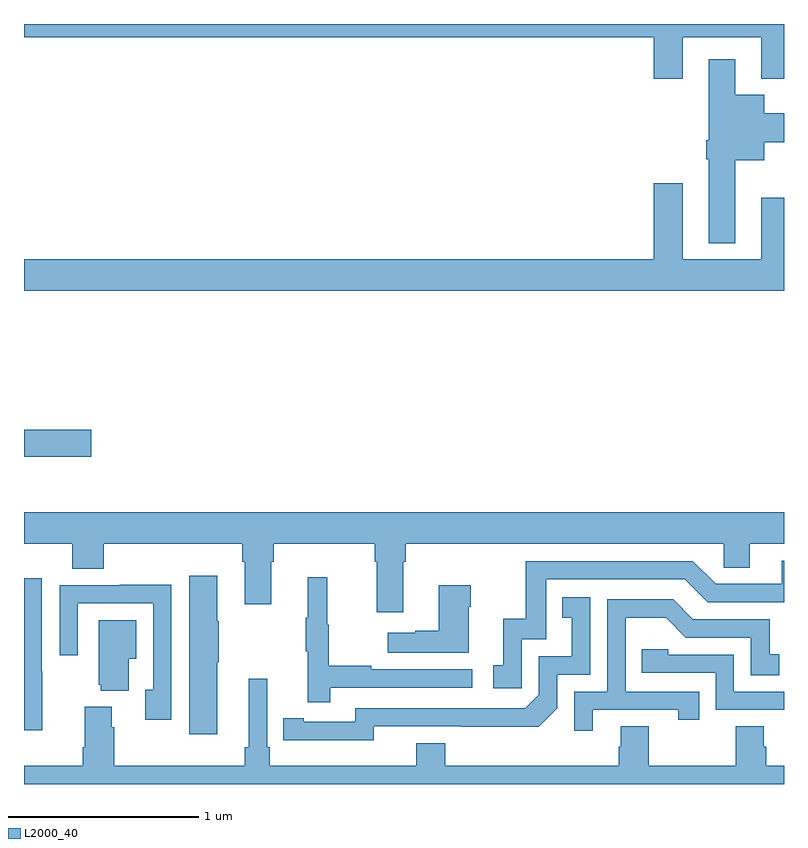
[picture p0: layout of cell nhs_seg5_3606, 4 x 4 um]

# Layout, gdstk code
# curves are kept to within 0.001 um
import gdstk
lib = gdstk.Library(unit=1e-6, precision=1e-09)
def R(c, l, rs):  # rectangles x0, y0, x1, y1
    for r in rs: c.add(gdstk.rectangle(r[:2], r[2:], *l))
def P(c, l, *ps):  # polygons
    for p in ps: c.add(gdstk.Polygon(p, *l))
L2000_40 = (2000, 40)

nhs_seg5_3606 = lib.new_cell('nhs_seg5_3606')
R(nhs_seg5_3606, L2000_40, [(323,886.522,323.353,886.664)])
P(nhs_seg5_3606, L2000_40, [(323,888.728),(326.315,888.728),(326.315,888.51),(326.467,888.51),(326.467,888.728),(326.879,888.728),(326.879,888.512),(327,888.512),(327,888.799),(323,888.799)],
  [(326.743,888.083),(326.896,888.083),(326.896,888.176),(327,888.176),(327,888.328),(326.896,888.328),(326.896,888.427),(326.743,888.427),(326.743,888.613),(326.603,888.613),(326.603,888.187),(326.591,888.187),(326.591,888.087),(326.603,888.087),(326.603,887.645),(326.743,887.645)],
  [(327,887.884),(326.879,887.884),(326.879,887.56),(326.467,887.56),(326.467,887.962),(326.315,887.962),(326.315,887.56),(323,887.56),(323,887.396),(327,887.396)],
  [(324.997,885.968),(325.01,885.968),(325.01,886.064),(326.682,886.064),(326.682,885.937),(326.821,885.937),(326.821,886.064),(327,886.064),(327,886.228),(323,886.228),(323,886.064),(323.255,886.064),(323.255,885.931),(323.42,885.931),(323.42,886.064),(324.149,886.064),(324.149,885.968),(324.161,885.968),(324.161,885.744),(324.301,885.744),(324.301,885.968),(324.314,885.968),(324.314,886.064),(324.845,886.064),(324.845,885.968),(324.857,885.968),(324.857,885.702),(324.997,885.702)],
  [(325.62,885.561),(325.749,885.561),(325.749,885.876),(326.478,885.876),(326.598,885.756),(327,885.756),(327,885.975),(326.987,885.975),(326.987,885.852),(326.64,885.852),(326.52,885.972),(325.641,885.972),(325.641,885.67),(325.523,885.67),(325.523,885.423),(325.47,885.423),(325.47,885.303),(325.62,885.303)],
  [(324.016,885.439),(324.024,885.439),(324.024,885.656),(324.016,885.656),(324.016,885.895),(323.87,885.895),(323.87,885.06),(324.016,885.06)],
  [(324.611,885.306),(325.36,885.306),(325.36,885.402),(324.827,885.402),(324.827,885.422),(324.604,885.422),(324.604,885.636),(324.596,885.636),(324.596,885.886),(324.494,885.886),(324.494,885.673),(324.483,885.673),(324.483,885.499),(324.494,885.499),(324.494,885.228),(324.611,885.228)],
  [(323.097,885.389),(323.094,885.389),(323.094,885.883),(323,885.883),(323,885.083),(323.097,885.083)],
  [(323.775,885.848),(323.503,885.848),(323.503,885.846),(323.187,885.846),(323.187,885.477),(323.283,885.477),(323.283,885.75),(323.679,885.75),(323.679,885.294),(323.639,885.294),(323.639,885.138),(323.775,885.138)],
  [(325.342,885.731),(325.35,885.731),(325.35,885.844),(325.184,885.844),(325.184,885.605),(325.058,885.605),(325.058,885.595),(324.915,885.595),(324.915,885.491),(325.342,885.491)],
  [(324.84,885.102),(325.708,885.101),(325.806,885.198),(325.806,885.375),(325.98,885.375),(325.98,885.781),(325.834,885.781),(325.834,885.675),(325.883,885.675),(325.883,885.471),(325.71,885.471),(325.71,885.27),(325.638,885.198),(324.744,885.198),(324.744,885.126),(324.472,885.126),(324.472,885.146),(324.364,885.146),(324.364,885.03),(324.84,885.029)],
  [(325.993,885.189),(326.444,885.189),(326.444,885.138),(326.555,885.138),(326.555,885.285),(326.166,885.285),(326.166,885.674),(326.38,885.674),(326.484,885.57),(326.826,885.57),(326.826,885.372),(326.974,885.372),(326.974,885.481),(326.925,885.481),(326.925,885.666),(326.521,885.666),(326.416,885.771),(326.07,885.771),(326.07,885.285),(325.896,885.285),(325.896,885.078),(325.993,885.078)],
  [(323.551,885.458),(323.59,885.458),(323.59,885.661),(323.393,885.661),(323.393,885.321),(323.405,885.321),(323.405,885.29),(323.551,885.29)],
  [(327,885.285),(326.736,885.285),(326.736,885.48),(326.391,885.48),(326.391,885.507),(326.251,885.507),(326.251,885.384),(326.64,885.384),(326.64,885.189),(327,885.189)],
  [(327,884.896),(326.906,884.896),(326.906,884.994),(326.893,884.994),(326.893,885.104),(326.746,885.104),(326.746,884.896),(326.289,884.896),(326.289,885.104),(326.141,885.104),(326.141,884.994),(326.129,884.994),(326.129,884.896),(325.217,884.896),(325.217,885.013),(325.064,885.013),(325.064,884.896),(324.293,884.896),(324.293,884.992),(324.279,884.992),(324.279,885.352),(324.182,885.352),(324.182,884.992),(324.163,884.992),(324.163,884.896),(323.474,884.896),(323.474,885.098),(323.461,885.098),(323.461,885.205),(323.321,885.205),(323.321,884.992),(323.309,884.992),(323.309,884.896),(323,884.896),(323,884.799),(327,884.799)])

lib.write_gds('nhs_seg5_3606.gds')
